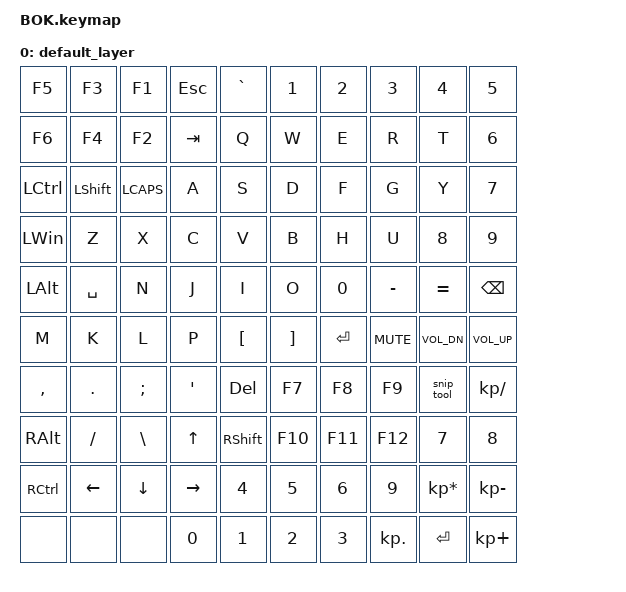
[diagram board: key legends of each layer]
/*
 * Copyright (c) 2021 The ZMK Contributors
 *
 * SPDX-License-Identifier: MIT
 */

#include <behaviors.dtsi>
#include <dt-bindings/zmk/keys.h>
#include <dt-bindings/zmk/bt.h>

#define DEFAULT  0
#define NUM_MODS 1
#define BT_CTRL  2

/ {

#include "behaviors/snipping_macro.keymap"

    keymap {
        compatible = "zmk,keymap";

        default_layer {
            bindings = <
//  #A           #B         #C            #D          #E              #F                #G               #H                  #I               #J
    &kp F5       &kp F3     &kp F1        &kp ESC     &kp GRAVE       &kp NUMBER_1      &kp NUMBER_2     &kp NUMBER_3        &kp NUMBER_4     &kp NUMBER_5
    &kp F6       &kp F4     &kp F2        &kp TAB     &kp Q           &kp W             &kp E            &kp R               &kp T            &kp NUMBER_6           
    &kp LCTRL    &kp LSHFT  &kp LCAPS     &kp A       &kp S           &kp D             &kp F            &kp G               &kp Y            &kp NUMBER_7 
    &kp LWIN     &kp Z      &kp X         &kp C       &kp V           &kp B             &kp H            &kp U               &kp NUMBER_8     &kp NUMBER_9
    &kp LALT     &kp SPACE  &kp N         &kp J       &kp I           &kp O             &kp NUMBER_0     &kp MINUS           &kp EQUAL        &kp BACKSPACE
    &kp M        &kp K      &kp L         &kp P       &kp LBKT        &kp RBKT          &kp ENTER        &kp C_MUTE          &kp C_VOL_DN     &kp C_VOL_UP
    &kp COMMA    &kp DOT    &kp SEMI      &kp APOS    &kp DEL         &kp F7            &kp F8           &kp F9              &snip_tool       &kp KP_SLASH
    &kp RALT     &kp FSLH   &kp BSLH      &kp UP      &kp RSHIFT      &kp F10           &kp F11          &kp F12             &kp N7           &kp N8
    &kp RCTRL    &kp LEFT   &kp DOWN      &kp RIGHT   &kp N4          &kp N5            &kp N6           &kp N9              &kp KP_MULTIPLY  &kp KP_MINUS
    &none        &none      &none         &kp N0      &kp N1          &kp N2            &kp N3           &kp KP_DOT          &kp ENTER        &kp KP_PLUS
            >;
        };

/*
        num_mods {
            bindings = <
    &kp GRAVE &kp N1    &kp N2   &kp N3   &kp N4      &kp N5     &kp N6    &kp N7      &kp N8    &kp N9    &kp N0   &kp DEL
    &kp TAB   &kp F1    &kp F2   &kp F3   &kp F4      &kp F5     &kp F6    &kp MINUS   &kp PG_UP &kp LBKT  &kp RBKT &kp BSLH
    &kp LSHFT &kp F7    &kp F8   &kp F9   &kp F10     &kp F11    &kp F12   &kp EQUAL   &kp PG_DN &kp HOME  &kp END  &kp ENTER
    &kp LCTRL &kp LGUI  &kp LALT &sys_reset   &to DEFAULT &kp SPACE  &trans    &mo BT_CTRL &kp LEFT  &kp RIGHT &kp UP   &kp DOWN
            >;
        };

        bt_control {
            bindings = <
    &bt BT_CLR &bt BT_SEL 0 &bt BT_SEL 1 &bt BT_SEL 2 &bt BT_SEL 3 &bt BT_SEL 4 &trans    &trans    &trans     &trans     &trans   &trans
    &trans     &trans       &trans       &trans       &trans       &trans       &trans    &trans    &trans     &trans     &trans   &trans
    &trans     &trans       &trans       &trans       &trans       &trans       &trans    &trans    &trans     &trans     &trans   &trans
    &trans     &trans       &trans       &trans       &trans       &trans       &trans    &trans    &bt BT_PRV &bt BT_NXT &trans   &trans
            >;
        };
*/

    };
};
